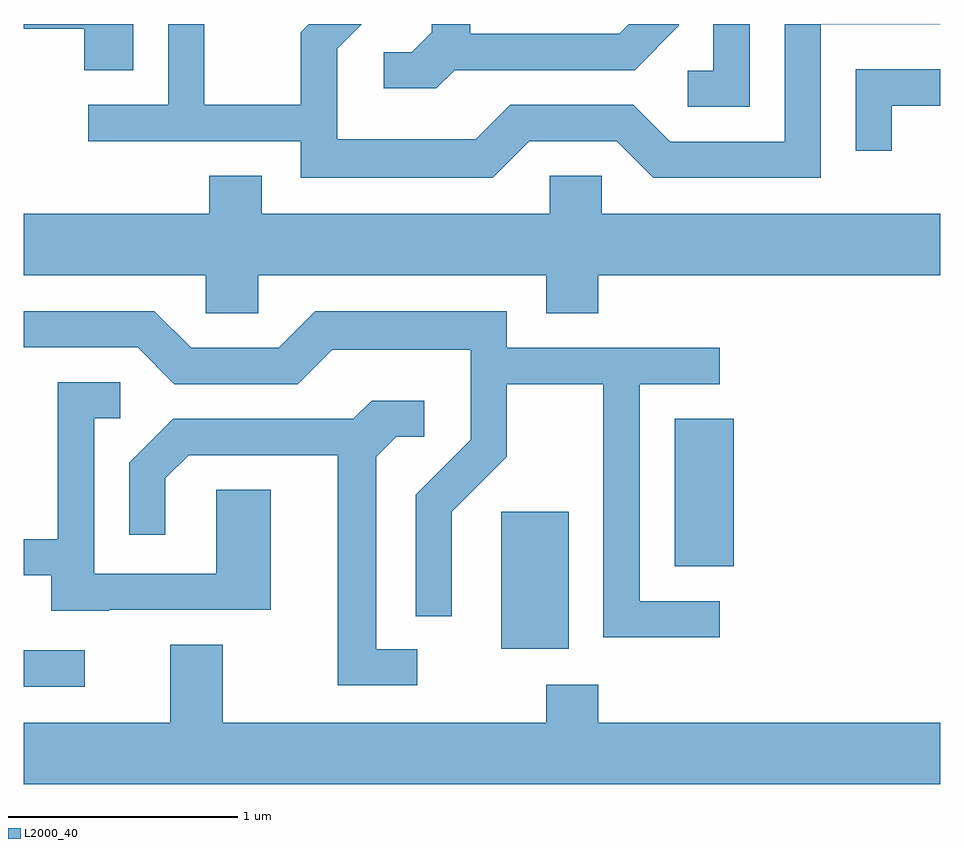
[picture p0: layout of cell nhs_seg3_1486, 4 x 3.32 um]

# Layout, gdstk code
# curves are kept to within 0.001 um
import gdstk
lib = gdstk.Library(unit=1e-6, precision=1e-09)
def R(c, l, rs):  # rectangles x0, y0, x1, y1
    for r in rs: c.add(gdstk.rectangle(r[:2], r[2:], *l))
def P(c, l, *ps):  # polygons
    for p in ps: c.add(gdstk.Polygon(p, *l))
L2000_40 = (2000, 40)

nhs_seg3_1486 = lib.new_cell('nhs_seg3_1486')
R(nhs_seg3_1486, L2000_40, [(227.611,1233.001,227.878,1233.159), (229.696,1233.166,229.989,1233.764), (230.451,1233.526,230.709,1234.169)])
P(nhs_seg3_1486, L2000_40, [(229.492,1235.691),(230.277,1235.691),(230.469,1235.884),(230.469,1235.892),(230.252,1235.892),(230.209,1235.849),(229.559,1235.849),(229.559,1235.892),(229.391,1235.892),(229.391,1235.857),(229.304,1235.769),(229.183,1235.769),(229.183,1235.611),(229.412,1235.611)],
  [(230.779,1235.892),(230.621,1235.892),(230.621,1235.689),(230.508,1235.689),(230.508,1235.531),(230.779,1235.531)],
  [(228.089,1235.892),(227.611,1235.892),(227.611,1235.871),(227.876,1235.871),(227.876,1235.691),(228.089,1235.691)],
  [(229.817,1235.381),(230.199,1235.381),(230.359,1235.221),(231.089,1235.221),(231.089,1235.891),(231.611,1235.892),(230.931,1235.892),(230.931,1235.379),(230.432,1235.379),(230.272,1235.539),(229.734,1235.539),(229.584,1235.389),(228.979,1235.389),(228.979,1235.784),(229.087,1235.892),(228.856,1235.892),(228.821,1235.857),(228.821,1235.539),(228.399,1235.539),(228.399,1235.892),(228.241,1235.892),(228.241,1235.539),(227.893,1235.539),(227.893,1235.381),(228.821,1235.381),(228.821,1235.221),(229.657,1235.221)],
  [(231.399,1235.536),(231.611,1235.536),(231.611,1235.694),(231.241,1235.694),(231.241,1235.338),(231.399,1235.338)],
  [(228.634,1234.796),(229.891,1234.796),(229.891,1234.631),(230.119,1234.631),(230.119,1234.796),(231.611,1234.796),(231.611,1235.064),(230.134,1235.064),(230.134,1235.229),(229.906,1235.229),(229.906,1235.064),(228.649,1235.064),(228.649,1235.229),(228.421,1235.229),(228.421,1235.064),(227.611,1235.064),(227.611,1234.796),(228.406,1234.796),(228.406,1234.631),(228.634,1234.631)],
  [(230.648,1233.374),(230.299,1233.374),(230.299,1234.321),(230.648,1234.321),(230.648,1234.479),(229.719,1234.479),(229.719,1234.639),(228.884,1234.639),(228.724,1234.479),(228.342,1234.479),(228.182,1234.639),(227.611,1234.639),(227.611,1234.481),(228.109,1234.481),(228.269,1234.321),(228.807,1234.321),(228.957,1234.471),(229.561,1234.471),(229.561,1234.077),(229.321,1233.837),(229.321,1233.308),(229.479,1233.308),(229.479,1233.764),(229.719,1234.004),(229.719,1234.321),(230.141,1234.321),(230.141,1233.216),(230.648,1233.216)],
  [(227.985,1233.336),(228.689,1233.336),(228.689,1233.859),(228.451,1233.859),(228.451,1233.494),(227.919,1233.494),(227.919,1234.171),(228.033,1234.171),(228.033,1234.329),(227.761,1234.329),(227.761,1233.644),(227.611,1233.644),(227.611,1233.486),(227.731,1233.486),(227.731,1233.331),(227.985,1233.331)],
  [(229.328,1233.164),(229.149,1233.164),(229.149,1234.004),(229.237,1234.091),(229.358,1234.091),(229.358,1234.249),(229.129,1234.249),(229.049,1234.169),(228.264,1234.169),(228.071,1233.977),(228.071,1233.663),(228.229,1233.663),(228.229,1233.909),(228.332,1234.011),(228.981,1234.011),(228.981,1233.006),(229.328,1233.006)],
  [(231.611,1232.844),(230.119,1232.844),(230.119,1233.009),(229.891,1233.009),(229.891,1232.844),(228.479,1232.844),(228.479,1233.184),(228.251,1233.184),(228.251,1232.844),(227.611,1232.844),(227.611,1232.576),(231.611,1232.576)])

lib.write_gds('nhs_seg3_1486.gds')
